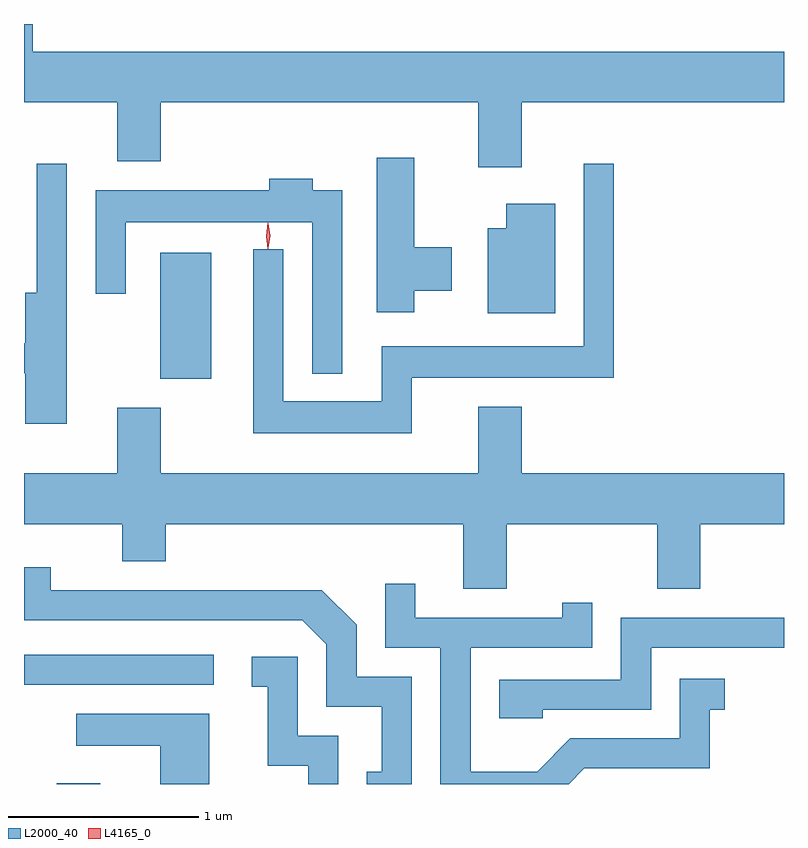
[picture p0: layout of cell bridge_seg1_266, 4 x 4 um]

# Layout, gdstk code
import gdstk
lib = gdstk.Library(unit=1e-6, precision=1e-09)
def R(c, l, rs):  # rectangles x0, y0, x1, y1
    for r in rs: c.add(gdstk.rectangle(r[:2], r[2:], *l))
def P(c, l, *ps):  # polygons
    for p in ps: c.add(gdstk.Polygon(p, *l))
L2000_40 = (2000, 40)
L4165_0 = (4165, 0)

bridge_seg1_266 = lib.new_cell('bridge_seg1_266')
R(bridge_seg1_266, L2000_40, [(906.251,891.549,906.479,891.554), (906.079,892.071,907.078,892.229), (906.796,893.681,907.064,894.344)])
P(bridge_seg1_266, L2000_40, [(908.699,895.136),(910.079,895.136),(910.079,895.404),(906.124,895.404),(906.124,895.549),(906.079,895.549),(906.079,895.136),(906.571,895.136),(906.571,894.826),(906.799,894.826),(906.799,895.136),(908.471,895.136),(908.471,894.796),(908.699,894.796)],
  [(908.134,894.146),(908.329,894.146),(908.329,894.374),(908.134,894.374),(908.134,894.844),(907.936,894.844),(907.936,894.031),(908.134,894.031)],
  [(908.119,893.686),(909.184,893.686),(909.184,894.813),(909.026,894.813),(909.026,893.854),(907.961,893.854),(907.961,893.564),(907.444,893.564),(907.444,894.363),(907.286,894.363),(907.286,893.396),(908.119,893.396)],
  [(906.304,894.813),(906.146,894.813),(906.146,894.134),(906.086,894.134),(906.086,893.869),(906.079,893.869),(906.079,893.711),(906.086,893.711),(906.086,893.446),(906.304,893.446)],
  [(907.754,894.674),(907.599,894.674),(907.599,894.734),(907.371,894.734),(907.371,894.674),(906.456,894.674),(906.456,894.128),(906.614,894.128),(906.614,894.506),(907.596,894.506),(907.596,893.708),(907.754,893.708)],
  [(908.874,894.604),(908.616,894.604),(908.616,894.474),(908.521,894.474),(908.521,894.026),(908.874,894.026)],
  [(908.619,892.916),(909.411,892.916),(909.411,892.576),(909.639,892.576),(909.639,892.916),(910.079,892.916),(910.079,893.184),(908.699,893.184),(908.699,893.534),(908.471,893.534),(908.471,893.184),(906.799,893.184),(906.799,893.529),(906.571,893.529),(906.571,893.184),(906.079,893.184),(906.079,892.916),(906.596,892.916),(906.596,892.721),(906.824,892.721),(906.824,892.916),(908.391,892.916),(908.391,892.576),(908.619,892.576)],
  [(908.119,892.114),(907.829,892.114),(907.829,892.387),(907.647,892.569),(906.219,892.569),(906.219,892.689),(906.079,892.689),(906.079,892.411),(907.544,892.411),(907.671,892.284),(907.671,891.956),(907.961,891.956),(907.961,891.614),(907.883,891.614),(907.883,891.549),(908.119,891.549)],
  [(909.027,891.631),(909.689,891.631),(909.689,891.941),(909.768,891.941),(909.768,892.104),(909.531,892.104),(909.531,891.789),(908.954,891.789),(908.779,891.614),(908.429,891.614),(908.429,892.266),(909.069,892.266),(909.069,892.503),(908.911,892.503),(908.911,892.424),(908.139,892.424),(908.139,892.603),(907.981,892.603),(907.981,892.266),(908.271,892.266),(908.271,891.549),(908.945,891.549)],
  [(908.809,891.941),(909.379,891.941),(909.379,892.266),(910.079,892.266),(910.079,892.424),(909.221,892.424),(909.221,892.099),(908.581,892.099),(908.581,891.896),(908.809,891.896)],
  [(907.734,891.804),(907.519,891.804),(907.519,892.219),(907.278,892.219),(907.278,892.061),(907.361,892.061),(907.361,891.646),(907.576,891.646),(907.576,891.549),(907.734,891.549)],
  [(907.054,891.919),(906.353,891.919),(906.353,891.751),(906.796,891.751),(906.796,891.549),(907.054,891.549)])
P(bridge_seg1_266, L4165_0, [(907.364,894.367),(907.364,894.368),(907.354,894.434),(907.364,894.5),(907.364,894.501),(907.365,894.5),(907.374,894.434),(907.365,894.368)],
  [(907.362,894.364),(907.353,894.433),(907.362,894.502),(907.363,894.503),(907.363,894.502),(907.373,894.433),(907.363,894.364),(907.363,894.364)])

lib.write_gds('bridge_seg1_266.gds')
